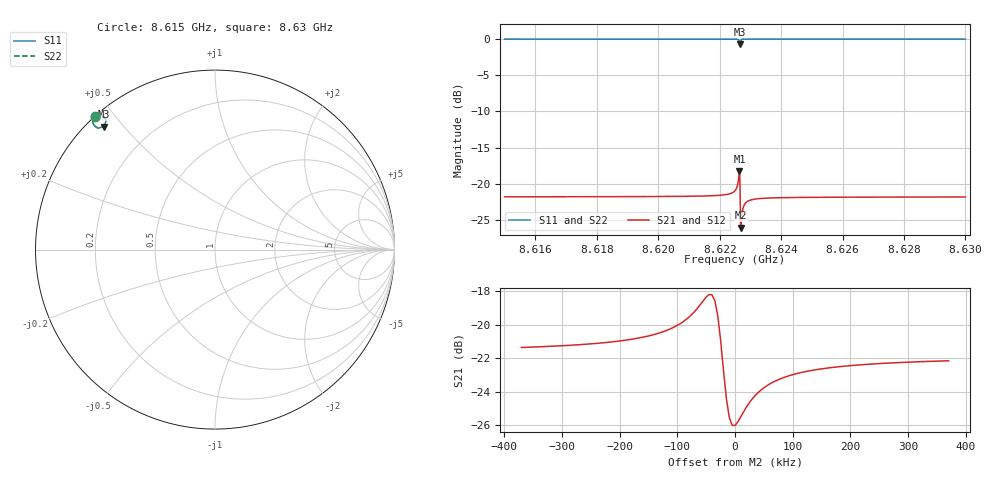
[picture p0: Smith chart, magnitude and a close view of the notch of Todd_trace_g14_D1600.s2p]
! Sonnet Data File
! From: emgraph Version : 16.52
! From Project: 171114transmon_trace_brg
! Data is De-embedded
! Data File Written: 11/14/2017 17:50:13
!< HDATE 11/14/2017 14:11:39
!< MDATE 11/14/2017 14:11:39
!< PARAMS
!< Lj = 15.24
!< Gap = 14.0
!< Width = 10.0
!< Airgap = 6.0
!< Pwidth = 2000.0
!< Dist = 1600.0
!< END PARAMS
# GHZ S MA R 34.87000
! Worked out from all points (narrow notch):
!   3597 points, 8.615 GHz to 8.63 GHz, reference 34.87 ohm
!   highest |S21| = -18.20 dB at 8.62265 GHz (marker M1); lowest = -26.0 dB at 8.62269 GHz (marker M2)
!   notch at M2: 4.3 dB deep, 62 kHz wide at half that depth
!   lowest |S11| = -0.7 dB at 8.62266 GHz (marker M3), VSWR 24.96, Z = 1.67 + j15.4 ohm
!   |S11| at or under -10 dB: nowhere
!   |S22| runs from -0.7 to 0.0 dB; largest |S21 - S12| = 9.2e-11
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8.615  0.9967 131.9  0.08151 41.9  0.08151 41.9  0.9967 131.9
!< P1 F=8.615 Eeff=(5.13377404 -5.6313e-5) Z0=(34.6595714 -9.1612e-5) R=0.0 C=0.0
!< P2 F=8.615 Eeff=(5.13377404 -5.6313e-5) Z0=(34.6595714 -9.1612e-5) R=0.0 C=0.0
8.6175  0.9967 131.9  0.08162 41.9  0.08162 41.9  0.9967 131.9
8.62  0.9966 131.9  0.0819 41.9  0.0819 41.9  0.9966 131.9
8.621985  0.9965 131.8  0.08344 41.7  0.08344 41.7  0.9965 131.8
8.622315  0.9961 131.7  0.08538 41.5  0.08538 41.5  0.9961 131.7
8.622485  0.9952 131.4  0.08912 40.9  0.08912 40.9  0.9952 131.5
8.6225  0.995 131.4  0.08981 40.8  0.08981 40.8  0.995 131.4
8.622511  0.9948 131.4  0.0904 40.7  0.0904 40.7  0.9948 131.4
8.622515  0.9947 131.4  0.09065 40.6  0.09065 40.6  0.9948 131.4
8.62258  0.9917 131.0  0.09746 38.9  0.09746 38.9  0.9917 131.0
8.622645  0.9505 129.9  0.123 19.6  0.123 19.6  0.9508 129.9
8.62266  0.9229 132.1  0.1067 -1.6  0.1067 -1.6  0.9235 132.1
8.62269  0.9788 133.9  0.04996 20.2  0.04996 20.2  0.979 133.9
8.622755  0.9951 132.7  0.06718 40.5  0.06718 40.5  0.9952 132.7
8.62281  0.9963 132.4  0.07225 41.6  0.07225 41.6  0.9963 132.4
8.622865  0.9966 132.3  0.07469 41.8  0.07469 41.8  0.9966 132.3
8.622955  0.9968 132.2  0.07673 42.0  0.07673 42.0  0.9968 132.2
8.623095  0.9968 132.1  0.07824 42.0  0.07824 42.0  0.9968 132.1
8.62366  0.9968 132.0  0.08005 41.9  0.08005 41.9  0.9968 132.0
8.625  0.9967 131.9  0.08085 41.9  0.08085 41.9  0.9967 131.9
8.6275  0.9967 131.9  0.08118 41.9  0.08118 41.9  0.9967 131.9
8.63  0.9967 131.9  0.08131 41.9  0.08131 41.9  0.9967 131.9
